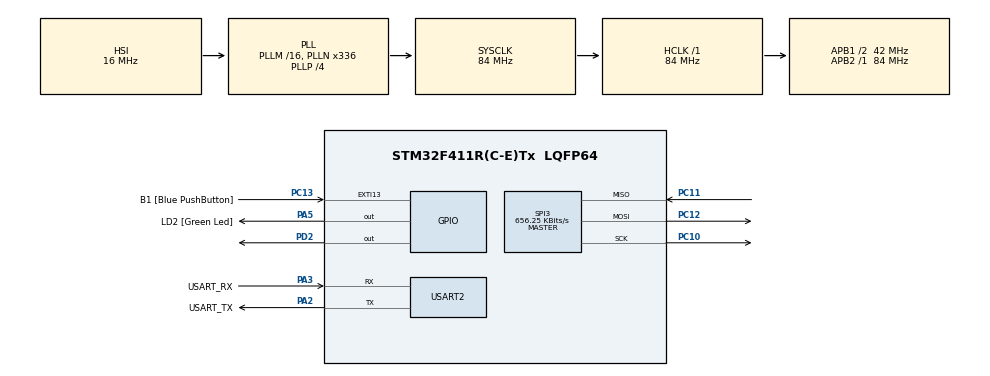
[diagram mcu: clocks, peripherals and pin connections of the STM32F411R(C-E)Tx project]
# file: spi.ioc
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Mcu.Family=STM32F4
Mcu.Name=STM32F411R(C-E)Tx
Mcu.Package=LQFP64
NVIC.PriorityGroup=NVIC_PRIORITYGROUP_0
NVIC.SPI3_IRQn=true\:0\:0\:false\:false\:true\:true\:true\:true
PA13.GPIO_Label=TMS
PA13.Mode=Serial_Wire
PA13.Signal=SYS_JTMS-SWDIO
PA14.GPIO_Label=TCK
PA14.Mode=Serial_Wire
PA14.Signal=SYS_JTCK-SWCLK
PA2.GPIO_Label=USART_TX
PA2.Mode=Asynchronous
PA2.Signal=USART2_TX
PA3.GPIO_Label=USART_RX
PA3.Mode=Asynchronous
PA3.Signal=USART2_RX
PA5.GPIO_Label=LD2 [Green Led]
PA5.Signal=GPIO_Output
PB3.GPIO_Label=SWO
PB3.Signal=SYS_JTDO-SWO
PC10.Mode=Full_Duplex_Master
PC10.Signal=SPI3_SCK
PC11.Mode=Full_Duplex_Master
PC11.Signal=SPI3_MISO
PC12.Mode=Full_Duplex_Master
PC12.Signal=SPI3_MOSI
PC13-ANTI_TAMP.GPIO_Label=B1 [Blue PushButton]
PC13-ANTI_TAMP.GPIO_ModeDefaultEXTI=GPIO_MODE_IT_FALLING
PC13-ANTI_TAMP.Signal=GPXTI13
PC14-OSC32_IN.Mode=LSE-External-Oscillator
PC14-OSC32_IN.Signal=RCC_OSC32_IN
PC15-OSC32_OUT.Mode=LSE-External-Oscillator
PC15-OSC32_OUT.Signal=RCC_OSC32_OUT
PD2.PinState=GPIO_PIN_SET
PD2.Signal=GPIO_Output
PH0\ -\ OSC_IN.Mode=HSE-External-Clock-Source
PH0\ -\ OSC_IN.Signal=RCC_OSC_IN
PH1\ -\ OSC_OUT.Mode=HSE-External-Clock-Source
PH1\ -\ OSC_OUT.Signal=RCC_OSC_OUT
ProjectManager.HeapSize=0x200
ProjectManager.StackSize=0x400
ProjectManager.TargetToolchain=STM32CubeIDE
RCC.48MHZClocksFreq_Value=84000000
RCC.AHBFreq_Value=84000000
RCC.APB1CLKDivider=RCC_HCLK_DIV2
RCC.APB1Freq_Value=42000000
RCC.APB1TimFreq_Value=84000000
RCC.APB2Freq_Value=84000000
RCC.APB2TimFreq_Value=84000000
RCC.CortexFreq_Value=84000000
RCC.FLatency-AdvancedSettings=FLASH_LATENCY_2
RCC.HCLKFreq_Value=84000000
RCC.HSE_VALUE=8000000
RCC.HSI_VALUE=16000000
RCC.PLLN=336
RCC.PLLP=RCC_PLLP_DIV4
RCC.SYSCLKFreq_VALUE=84000000
RCC.SYSCLKSource=RCC_SYSCLKSOURCE_PLLCLK
RCC.VCOOutputFreq_Value=336000000
SPI3.BaudRatePrescaler=SPI_BAUDRATEPRESCALER_64
SPI3.CLKPhase=SPI_PHASE_2EDGE
SPI3.CLKPolarity=SPI_POLARITY_HIGH
SPI3.CalculateBaudRate=656.25 KBits/s
SPI3.Direction=SPI_DIRECTION_2LINES
SPI3.Mode=SPI_MODE_MASTER
SPI3.VirtualType=VM_MASTER
USART2.VirtualMode=VM_ASYNC
board=NUCLEO-F411RE

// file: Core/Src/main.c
/* USER CODE BEGIN Header */
/**
  ******************************************************************************
  * @file           : main.c
  * @brief          : Main program body
  ******************************************************************************
  * @attention
  *
  * Copyright (c) 2023 STMicroelectronics.
  * All rights reserved.
  *
  * This software is licensed under terms that can be found in the LICENSE file
  * in the root directory of this software component.
  * If no LICENSE file comes with this software, it is provided AS-IS.
  *
  ******************************************************************************
  */
/* USER CODE END Header */
#include "main.h"

SPI_HandleTypeDef hspi3;

UART_HandleTypeDef huart2;

/* USER CODE BEGIN PV */
uint8_t SPIRx[10];
uint8_t SPITx[10];
/* USER CODE END PV */

void SystemClock_Config(void);
static void MX_GPIO_Init(void);
static void MX_USART2_UART_Init(void);
static void MX_SPI3_Init(void);
/* USER CODE BEGIN PFP */
void SPITxRx();
/* USER CODE END PFP */

int main(void)
{

  /* MCU Configuration--------------------------------------------------------*/

  /* Reset of all peripherals, Initializes the Flash interface and the Systick. */
  HAL_Init();

  /* Configure the system clock */
  SystemClock_Config();

  /* Initialize all configured peripherals */
  MX_GPIO_Init();
  MX_USART2_UART_Init();
  MX_SPI3_Init();
  /* USER CODE BEGIN 2 */
  HAL_GPIO_WritePin(GPIOD, GPIO_PIN_2, 0);
HAL_Delay(10);
HAL_GPIO_WritePin(GPIOD, GPIO_PIN_2, 1);
HAL_Delay(10);
SPITxRx();
  /* USER CODE END 2 */

  /* Infinite loop */
  while (1)
  {

  }
}

void SystemClock_Config(void)
{
  RCC_OscInitTypeDef RCC_OscInitStruct = {0};
  RCC_ClkInitTypeDef RCC_ClkInitStruct = {0};

  /** Configure the main internal regulator output voltage
  */
  __HAL_RCC_PWR_CLK_ENABLE();
  __HAL_PWR_VOLTAGESCALING_CONFIG(PWR_REGULATOR_VOLTAGE_SCALE1);

  /** Initializes the RCC Oscillators according to the specified parameters
  * in the RCC_OscInitTypeDef structure.
  */
  RCC_OscInitStruct.OscillatorType = RCC_OSCILLATORTYPE_HSI;
  RCC_OscInitStruct.HSIState = RCC_HSI_ON;
  RCC_OscInitStruct.HSICalibrationValue = RCC_HSICALIBRATION_DEFAULT;
  RCC_OscInitStruct.PLL.PLLState = RCC_PLL_ON;
  RCC_OscInitStruct.PLL.PLLSource = RCC_PLLSOURCE_HSI;
  RCC_OscInitStruct.PLL.PLLM = 16;
  RCC_OscInitStruct.PLL.PLLN = 336;
  RCC_OscInitStruct.PLL.PLLP = RCC_PLLP_DIV4;
  RCC_OscInitStruct.PLL.PLLQ = 4;
  if (HAL_RCC_OscConfig(&RCC_OscInitStruct) != HAL_OK)
  {
    Error_Handler();
  }

  /** Initializes the CPU, AHB and APB buses clocks
  */
  RCC_ClkInitStruct.ClockType = RCC_CLOCKTYPE_HCLK|RCC_CLOCKTYPE_SYSCLK
                              |RCC_CLOCKTYPE_PCLK1|RCC_CLOCKTYPE_PCLK2;
  RCC_ClkInitStruct.SYSCLKSource = RCC_SYSCLKSOURCE_PLLCLK;
  RCC_ClkInitStruct.AHBCLKDivider = RCC_SYSCLK_DIV1;
  RCC_ClkInitStruct.APB1CLKDivider = RCC_HCLK_DIV2;
  RCC_ClkInitStruct.APB2CLKDivider = RCC_HCLK_DIV1;

  if (HAL_RCC_ClockConfig(&RCC_ClkInitStruct, FLASH_LATENCY_2) != HAL_OK)
  {
    Error_Handler();
  }
}

static void MX_SPI3_Init(void)
{

  /* SPI3 parameter configuration*/
  hspi3.Instance = SPI3;
  hspi3.Init.Mode = SPI_MODE_MASTER;
  hspi3.Init.Direction = SPI_DIRECTION_2LINES;
  hspi3.Init.DataSize = SPI_DATASIZE_8BIT;
  hspi3.Init.CLKPolarity = SPI_POLARITY_HIGH;
  hspi3.Init.CLKPhase = SPI_PHASE_2EDGE;
  hspi3.Init.NSS = SPI_NSS_SOFT;
  hspi3.Init.BaudRatePrescaler = SPI_BAUDRATEPRESCALER_64;
  hspi3.Init.FirstBit = SPI_FIRSTBIT_MSB;
  hspi3.Init.TIMode = SPI_TIMODE_DISABLE;
  hspi3.Init.CRCCalculation = SPI_CRCCALCULATION_DISABLE;
  hspi3.Init.CRCPolynomial = 10;
  if (HAL_SPI_Init(&hspi3) != HAL_OK)
  {
    Error_Handler();
  }

}

static void MX_USART2_UART_Init(void)
{

  huart2.Instance = USART2;
  huart2.Init.BaudRate = 115200;
  huart2.Init.WordLength = UART_WORDLENGTH_8B;
  huart2.Init.StopBits = UART_STOPBITS_1;
  huart2.Init.Parity = UART_PARITY_NONE;
  huart2.Init.Mode = UART_MODE_TX_RX;
  huart2.Init.HwFlowCtl = UART_HWCONTROL_NONE;
  huart2.Init.OverSampling = UART_OVERSAMPLING_16;
  if (HAL_UART_Init(&huart2) != HAL_OK)
  {
    Error_Handler();
  }

}

static void MX_GPIO_Init(void)
{
  GPIO_InitTypeDef GPIO_InitStruct = {0};

  /* GPIO Ports Clock Enable */
  __HAL_RCC_GPIOC_CLK_ENABLE();
  __HAL_RCC_GPIOH_CLK_ENABLE();
  __HAL_RCC_GPIOA_CLK_ENABLE();
  __HAL_RCC_GPIOD_CLK_ENABLE();
  __HAL_RCC_GPIOB_CLK_ENABLE();

  /*Configure GPIO pin Output Level */
  HAL_GPIO_WritePin(LD2_GPIO_Port, LD2_Pin, GPIO_PIN_RESET);

  /*Configure GPIO pin Output Level */
  HAL_GPIO_WritePin(GPIOD, GPIO_PIN_2, GPIO_PIN_SET);

  /*Configure GPIO pin : B1_Pin */
  GPIO_InitStruct.Pin = B1_Pin;
  GPIO_InitStruct.Mode = GPIO_MODE_IT_FALLING;
  GPIO_InitStruct.Pull = GPIO_NOPULL;
  HAL_GPIO_Init(B1_GPIO_Port, &GPIO_InitStruct);

  /*Configure GPIO pin : LD2_Pin */
  GPIO_InitStruct.Pin = LD2_Pin;
  GPIO_InitStruct.Mode = GPIO_MODE_OUTPUT_PP;
  GPIO_InitStruct.Pull = GPIO_NOPULL;
  GPIO_InitStruct.Speed = GPIO_SPEED_FREQ_LOW;
  HAL_GPIO_Init(LD2_GPIO_Port, &GPIO_InitStruct);

  /*Configure GPIO pin : PD2 */
  GPIO_InitStruct.Pin = GPIO_PIN_2;
  GPIO_InitStruct.Mode = GPIO_MODE_OUTPUT_PP;
  GPIO_InitStruct.Pull = GPIO_NOPULL;
  GPIO_InitStruct.Speed = GPIO_SPEED_FREQ_LOW;
  HAL_GPIO_Init(GPIOD, &GPIO_InitStruct);

}

/* USER CODE BEGIN 4 */
void SPITxRx()
{
	HAL_GPIO_WritePin(GPIOD, GPIO_PIN_2, 0);
	SPITx[0] = 0b01000000;
	SPITx[1] = 0x1;
	SPITx[2] = 0b11110111;
	SPITx[3] = 0b11110111;
	HAL_SPI_TransmitReceive_IT(&hspi3, SPITx, SPIRx, 4);

	HAL_Delay(100);
	HAL_GPIO_WritePin(GPIOD, GPIO_PIN_2, 0);
	SPITx[0] = 0b01000000;
	SPITx[1] = 0x15;
	SPITx[2] = 0b00000000;
	SPITx[3] = 0b00000000;
	HAL_SPI_TransmitReceive_IT(&hspi3, SPITx, SPIRx, 4);

}
void HAL_SPI_TxRxCpltCallback(SPI_HandleTypeDef *hspi)
{
	HAL_GPIO_WritePin(GPIOD, GPIO_PIN_2, 1);
}
/* USER CODE END 4 */

void Error_Handler(void)
{
  __disable_irq();
  while (1)
  {
  }
}
